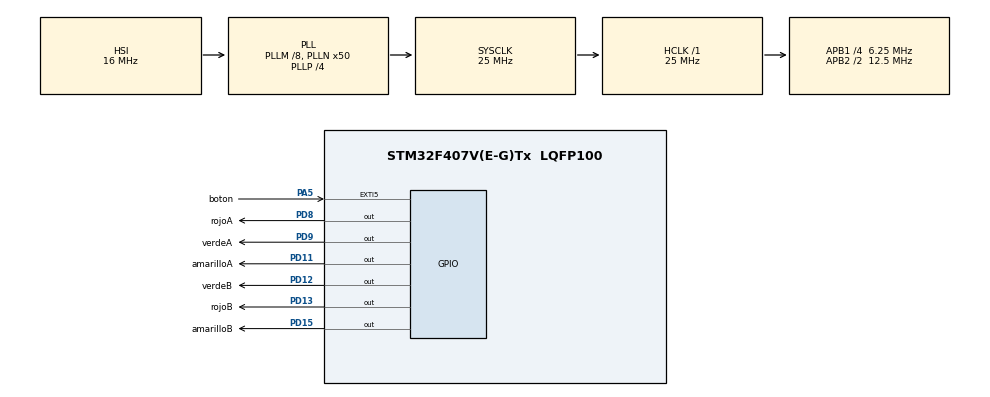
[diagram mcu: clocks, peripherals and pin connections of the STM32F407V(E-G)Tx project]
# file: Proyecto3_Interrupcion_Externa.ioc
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Mcu.Family=STM32F4
Mcu.Name=STM32F407V(E-G)Tx
Mcu.Package=LQFP100
NVIC.EXTI9_5_IRQn=true\:0\:0\:true\:false\:true\:true\:true\:true
NVIC.PriorityGroup=NVIC_PRIORITYGROUP_4
PA5.GPIO_Label=boton
PA5.Signal=GPXTI5
PD11.GPIO_Label=amarilloA
PD11.Signal=GPIO_Output
PD12.GPIO_Label=verdeB
PD12.Signal=GPIO_Output
PD13.GPIO_Label=rojoB
PD13.Signal=GPIO_Output
PD15.GPIO_Label=amarilloB
PD15.Signal=GPIO_Output
PD8.GPIO_Label=rojoA
PD8.Signal=GPIO_Output
PD9.GPIO_Label=verdeA
PD9.Signal=GPIO_Output
ProjectManager.HeapSize=0x200
ProjectManager.StackSize=0x400
ProjectManager.TargetToolchain=STM32CubeIDE
RCC.48MHZClocksFreq_Value=14285714.285714285
RCC.AHBFreq_Value=25000000
RCC.APB1CLKDivider=RCC_HCLK_DIV4
RCC.APB1Freq_Value=6250000
RCC.APB1TimFreq_Value=12500000
RCC.APB2CLKDivider=RCC_HCLK_DIV2
RCC.APB2Freq_Value=12500000
RCC.APB2TimFreq_Value=25000000
RCC.CortexFreq_Value=25000000
RCC.HCLKFreq_Value=25000000
RCC.HSE_VALUE=8000000
RCC.HSI_VALUE=16000000
RCC.LSE_VALUE=32768
RCC.PLLM=8
RCC.PLLN=50
RCC.PLLP=RCC_PLLP_DIV4
RCC.PLLQ=7
RCC.SYSCLKFreq_VALUE=25000000
RCC.SYSCLKSource=RCC_SYSCLKSOURCE_PLLCLK
RCC.VCOOutputFreq_Value=100000000
board=STM32F407G-DISC1

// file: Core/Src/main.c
/* USER CODE BEGIN Header */
/**
  ******************************************************************************
  * @file           : main.c
  * @brief          : Main program body
  ******************************************************************************
  * @attention
  *
  * Copyright (c) 2026 STMicroelectronics.
  * All rights reserved.
  *
  * This software is licensed under terms that can be found in the LICENSE file
  * in the root directory of this software component.
  * If no LICENSE file comes with this software, it is provided AS-IS.
  *
  ******************************************************************************
  */
/* USER CODE END Header */
#include "main.h"

/* USER CODE BEGIN PTD */
typedef enum {
    ROJO_A,
    AMARILLO_A,
    VERDE_A,
    VERDE_B,
    AMARILLO_B,
    ROJO_B,
    TOTAL_SECUENCIA
} Secuencia;
/* USER CODE END PTD */

/* USER CODE BEGIN PD */
#define rojoA GPIO_PIN_8
#define verdeA GPIO_PIN_9
#define amarilloA GPIO_PIN_11
#define verdeB GPIO_PIN_12
#define rojoB GPIO_PIN_13
#define amarilloB GPIO_PIN_15
#define EncenderTodos rojoA|verdeA|amarilloA|verdeB|rojoB|amarilloB
#define ApagarTodos (rojoA|verdeA|amarilloA|verdeB|rojoB|amarilloB) << 16
#define leds_GPIO_Port GPIOD
#define TENCENDIDO 2000
#define TAPAGADO   1000
#define TREBOTE    150
#define ESTADOiNICIAL ROJO_A
/* USER CODE END PD */

/* USER CODE BEGIN PV */
volatile uint8_t  solicitud     = 0;
volatile uint8_t  filtrado      = 0;
volatile uint32_t tiempo_inicio = 0;
/* USER CODE END PV */

void SystemClock_Config(void);
static void MX_GPIO_Init(void);
/* USER CODE BEGIN PFP */
void     inicio(void);
void     apagarTodos(void);
void     encenderTodos(void);
void     apagar(Secuencia estadoActual);
void     encender(Secuencia estadoActual);
Secuencia avanzar(Secuencia estadoActual);
void     filtrar(void);
/* USER CODE END PFP */

int main(void)
{

  /* MCU Configuration--------------------------------------------------------*/

  /* Reset of all peripherals, Initializes the Flash interface and the Systick. */
  HAL_Init();

  /* Configure the system clock */
  SystemClock_Config();

  /* Initialize all configured peripherals */
  MX_GPIO_Init();
  /* USER CODE BEGIN 2 */
  Secuencia estadoActual = ESTADOiNICIAL;
  inicio();
  /* USER CODE END 2 */

  /* Infinite loop */
  while (1)
  {

    /* USER CODE BEGIN 3 */
	  if (1 == filtrado)
	      filtrar();

	  if (1 == solicitud) {
	      estadoActual = avanzar(estadoActual);
	      solicitud = 0;
	  }
  }
  /* USER CODE END 3 */
}

void SystemClock_Config(void)
{
  RCC_OscInitTypeDef RCC_OscInitStruct = {0};
  RCC_ClkInitTypeDef RCC_ClkInitStruct = {0};

  /** Configure the main internal regulator output voltage
  */
  __HAL_RCC_PWR_CLK_ENABLE();
  __HAL_PWR_VOLTAGESCALING_CONFIG(PWR_REGULATOR_VOLTAGE_SCALE1);

  /** Initializes the RCC Oscillators according to the specified parameters
  * in the RCC_OscInitTypeDef structure.
  */
  RCC_OscInitStruct.OscillatorType = RCC_OSCILLATORTYPE_HSI;
  RCC_OscInitStruct.HSIState = RCC_HSI_ON;
  RCC_OscInitStruct.HSICalibrationValue = RCC_HSICALIBRATION_DEFAULT;
  RCC_OscInitStruct.PLL.PLLState = RCC_PLL_ON;
  RCC_OscInitStruct.PLL.PLLSource = RCC_PLLSOURCE_HSI;
  RCC_OscInitStruct.PLL.PLLM = 8;
  RCC_OscInitStruct.PLL.PLLN = 50;
  RCC_OscInitStruct.PLL.PLLP = RCC_PLLP_DIV4;
  RCC_OscInitStruct.PLL.PLLQ = 7;
  if (HAL_RCC_OscConfig(&RCC_OscInitStruct) != HAL_OK)
  {
    Error_Handler();
  }

  /** Initializes the CPU, AHB and APB buses clocks
  */
  RCC_ClkInitStruct.ClockType = RCC_CLOCKTYPE_HCLK|RCC_CLOCKTYPE_SYSCLK
                              |RCC_CLOCKTYPE_PCLK1|RCC_CLOCKTYPE_PCLK2;
  RCC_ClkInitStruct.SYSCLKSource = RCC_SYSCLKSOURCE_PLLCLK;
  RCC_ClkInitStruct.AHBCLKDivider = RCC_SYSCLK_DIV1;
  RCC_ClkInitStruct.APB1CLKDivider = RCC_HCLK_DIV4;
  RCC_ClkInitStruct.APB2CLKDivider = RCC_HCLK_DIV2;

  if (HAL_RCC_ClockConfig(&RCC_ClkInitStruct, FLASH_LATENCY_0) != HAL_OK)
  {
    Error_Handler();
  }
}

static void MX_GPIO_Init(void)
{
  GPIO_InitTypeDef GPIO_InitStruct = {0};

  /* GPIO Ports Clock Enable */
  __HAL_RCC_GPIOA_CLK_ENABLE();
  __HAL_RCC_GPIOD_CLK_ENABLE();

  /*Configure GPIO pin Output Level */
  HAL_GPIO_WritePin(GPIOD, rojoA_Pin|verdeA_Pin|amarilloA_Pin|verdeB_Pin
                          |rojoB_Pin|amarilloB_Pin, GPIO_PIN_RESET);

  /*Configure GPIO pin : boton_Pin */
  GPIO_InitStruct.Pin = boton_Pin;
  GPIO_InitStruct.Mode = GPIO_MODE_IT_FALLING;
  GPIO_InitStruct.Pull = GPIO_PULLUP;
  HAL_GPIO_Init(boton_GPIO_Port, &GPIO_InitStruct);

  /*Configure GPIO pins : rojoA_Pin verdeA_Pin amarilloA_Pin verdeB_Pin
                           rojoB_Pin amarilloB_Pin */
  GPIO_InitStruct.Pin = rojoA_Pin|verdeA_Pin|amarilloA_Pin|verdeB_Pin
                          |rojoB_Pin|amarilloB_Pin;
  GPIO_InitStruct.Mode = GPIO_MODE_OUTPUT_PP;
  GPIO_InitStruct.Pull = GPIO_NOPULL;
  GPIO_InitStruct.Speed = GPIO_SPEED_FREQ_LOW;
  HAL_GPIO_Init(GPIOD, &GPIO_InitStruct);

  /* EXTI interrupt init*/
  HAL_NVIC_SetPriority(EXTI9_5_IRQn, 0, 0);
  HAL_NVIC_EnableIRQ(EXTI9_5_IRQn);

}

/* USER CODE BEGIN 4 */

void inicio(void) {
    encenderTodos();
    HAL_Delay(TENCENDIDO);
    apagarTodos();
    HAL_Delay(TAPAGADO);
    encender(ESTADOiNICIAL);
}

void apagarTodos(void) {
    leds_GPIO_Port->BSRR = ApagarTodos;
}

void encenderTodos(void) {
    leds_GPIO_Port->BSRR = EncenderTodos;
}

void apagar(Secuencia estadoActual) {
    switch (estadoActual) {
        case ROJO_A:     HAL_GPIO_WritePin(leds_GPIO_Port, rojoA_Pin,     GPIO_PIN_RESET); break;
        case AMARILLO_A: HAL_GPIO_WritePin(leds_GPIO_Port, amarilloA_Pin, GPIO_PIN_RESET); break;
        case VERDE_A:    HAL_GPIO_WritePin(leds_GPIO_Port, verdeA_Pin,    GPIO_PIN_RESET); break;
        case VERDE_B:    HAL_GPIO_WritePin(leds_GPIO_Port, verdeB_Pin,    GPIO_PIN_RESET); break;
        case AMARILLO_B: HAL_GPIO_WritePin(leds_GPIO_Port, amarilloB_Pin, GPIO_PIN_RESET); break;
        case ROJO_B:     HAL_GPIO_WritePin(leds_GPIO_Port, rojoB_Pin,     GPIO_PIN_RESET); break;
        default:         apagarTodos(); break;
    }
}

void encender(Secuencia estadoActual) {
    switch (estadoActual) {
        case ROJO_A:     HAL_GPIO_WritePin(leds_GPIO_Port, rojoA_Pin,     GPIO_PIN_SET); break;
        case AMARILLO_A: HAL_GPIO_WritePin(leds_GPIO_Port, amarilloA_Pin, GPIO_PIN_SET); break;
        case VERDE_A:    HAL_GPIO_WritePin(leds_GPIO_Port, verdeA_Pin,    GPIO_PIN_SET); break;
        case VERDE_B:    HAL_GPIO_WritePin(leds_GPIO_Port, verdeB_Pin,    GPIO_PIN_SET); break;
        case AMARILLO_B: HAL_GPIO_WritePin(leds_GPIO_Port, amarilloB_Pin, GPIO_PIN_SET); break;
        case ROJO_B:     HAL_GPIO_WritePin(leds_GPIO_Port, rojoB_Pin,     GPIO_PIN_SET); break;
        default:         encenderTodos(); break;
    }
}

Secuencia avanzar(Secuencia estadoActual) {
    apagar(estadoActual);
    Secuencia estadoSiguiente = (Secuencia)((estadoActual + 1) % TOTAL_SECUENCIA);
    encender(estadoSiguiente);
    return estadoSiguiente;
}

void filtrar(void) {
    uint32_t tiempo_actual = HAL_GetTick();
    if (TREBOTE <= (tiempo_actual - tiempo_inicio)) {
        GPIO_PinState estado_boton = HAL_GPIO_ReadPin(boton_GPIO_Port, boton_Pin);
        if (GPIO_PIN_RESET == estado_boton)
            solicitud = 1;
        filtrado = 0;
    }
}

void HAL_GPIO_EXTI_Callback(uint16_t GPIO_Pin) {
    if (GPIO_Pin == boton_Pin && 0 == filtrado) {
        tiempo_inicio = HAL_GetTick();
        filtrado = 1;
    }
}

/* USER CODE END 4 */

void Error_Handler(void)
{
  __disable_irq();
  while (1)
  {
  }
}
